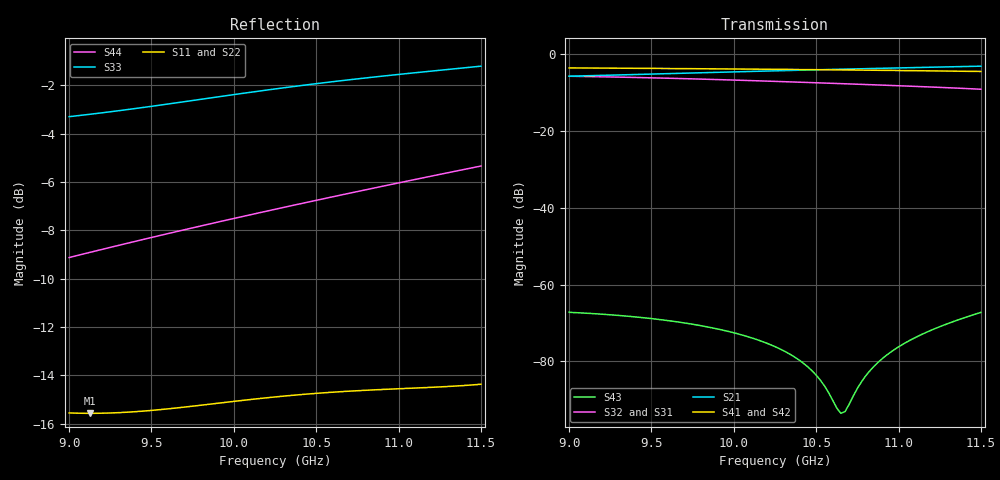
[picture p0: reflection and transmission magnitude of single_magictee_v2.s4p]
! Touchstone file exported from HFSS 2025.2.4
!  File:  C:/Users/chaoy/Documents/single_magictee_v2_stageA/g2_5p00mm_lt_7p50mm/single_magictee_v2.aedt
!  Generated:  02:59:32 PM Sep 19, 2026
!  Design:  SingleMagicT_v2
!  Project:  single_magictee_v2
! Variables:
!  f_adapt = 10.2GHz
!  ridge_g1 = 7.672mm
!  ridge_g2 = 5mm
!  ridge_l1 = 9.872mm
!  ridge_l2 = 8.857mm
!  ridge_w = 4.572mm
!  terminal_ridge_len = 7.5mm
!  wg_a = 22.86mm
!  wg_b = 10.16mm
!Data is not renormalized
# GHz S MA
! Terminal data exported
! Port[1] = P1_CollinearMinusX
! Port[2] = P2_CollinearPlusX
! Port[3] = P3_HArm_Ridged
! Port[4] = P4_EArm
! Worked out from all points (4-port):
!   101 points, 9 GHz to 11.5 GHz, reference per port
!   strongest paths, dB at 9 GHz, 9.625 GHz, 10.25 GHz, 10.88 GHz, 11.5 GHz:
!     S41: -3.6, -3.7, -3.9, -4.2, -4.5
!     S42: -3.6, -3.7, -3.9, -4.2, -4.5
!     S21: -5.7, -5.0, -4.3, -3.7, -3.1
!     S32: -5.7, -6.3, -7.1, -8.0, -9.1
!     S31: -5.7, -6.3, -7.1, -8.0, -9.1
!     S43: -67.2, -69.5, -76.2, -80.3, -67.3
!   lowest |S11| = -15.6 dB at 9.125 GHz (marker M1), VSWR 1.40
!   |S11| at or under -10 dB: start of sweep to end of sweep
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9  0.1668 -161.1  0.5166 -160.7  0.516 93.5  0.6626 45.1
   0.5166 -160.7  0.1674 -160.8  0.516 93.4  0.6624 -134.9
   0.516 93.5  0.516 93.4  0.6837 167.7  0.0004347 -113.6
   0.6626 45.1  0.6624 -134.9  0.0004347 -113.6  0.3495 -109.2
9.125  0.1665 -172.9  0.5247 -175.0  0.5109 77.7  0.6603 30.6
       0.5247 -175.0  0.1671 -172.6  0.5109 77.7  0.6601 -149.3
       0.5109 77.7  0.5109 77.7  0.6914 149.8  0.0004205 -131.9
       0.6603 30.6  0.6601 -149.3  0.0004205 -131.9  0.3581 -122.7
9.65  0.1707 137.9  0.5617 126.8  0.4831 12.7  0.6496 -28.3
      0.5617 126.8  0.1713 138.1  0.4832 12.6  0.6494 151.7
      0.4831 12.7  0.4832 12.6  0.7302 75.9  0.0003278 151.1
      0.6496 -28.3  0.6494 151.7  0.0003278 151.1  0.3953 -178.6
10.25  0.1799 80.7  0.6071 62.4  0.4424 -59.5  0.6351 -93.0
       0.6071 62.4  0.1802 80.8  0.4424 -59.5  0.635 87.1
       0.4424 -59.5  0.4424 -59.5  0.7801 -5.6  0.0001553 62.1
       0.6351 -93.0  0.635 87.1  0.0001553 62.1  0.4398 119.1
10.9  0.1865 18.3  0.6551 -5.6  0.3953 -136.0  0.6163 -160.9
      0.6551 -5.6  0.1867 18.4  0.3955 -135.9  0.6161 19.2
      0.3953 -136.0  0.3955 -135.9  0.8291 -91.5  0.0001077 172.8
      0.6163 -160.9  0.6161 19.2  0.0001077 172.8  0.4906 52.8
11.175  0.1882 -7.5  0.6748 -34.0  0.375 -168.5  0.6071 170.7
        0.6748 -34.0  0.1886 -7.6  0.3753 -168.4  0.6068 -9.2
        0.375 -168.5  0.3753 -168.4  0.8476 -128.5  0.0002417 130.6
        0.6071 170.7  0.6068 -9.2  0.0002417 130.6  0.513 25.0
11.5  0.1912 -37.4  0.6981 -67.3  0.3491 152.3  0.5952 137.4
      0.6981 -67.3  0.1917 -37.6  0.3494 152.6  0.5948 -42.6
      0.3491 152.3  0.3494 152.6  0.8695 -174.1  0.0004335 86.7
      0.5952 137.4  0.5948 -42.6  0.0004335 86.7  0.5404 -7.8
